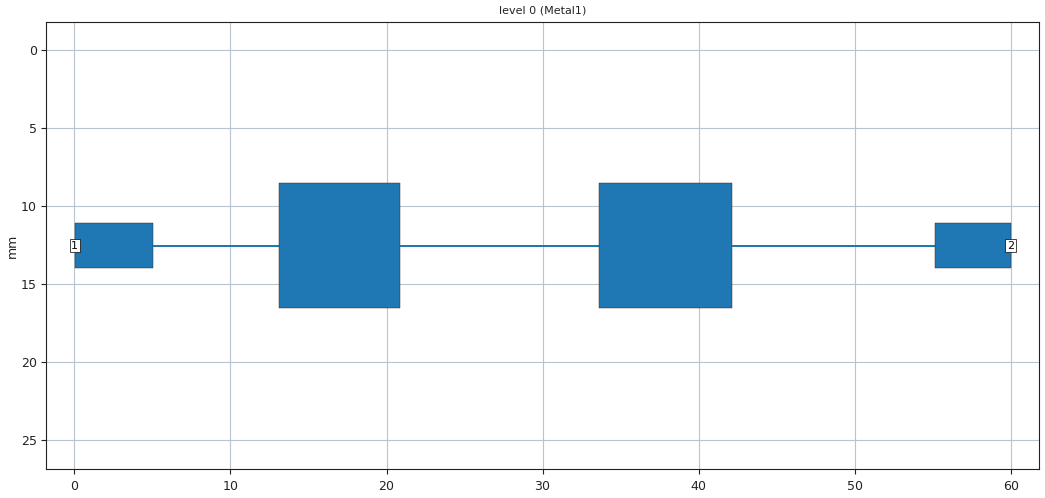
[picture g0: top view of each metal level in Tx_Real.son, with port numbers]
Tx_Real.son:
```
FTYP SONPROJ 19 ! Sonnet Project File
VER 18.53
HEADER
LIC SL65aa19ee
DAT 03/29/2024 23:00:38
BUILT_BY_CREATED xgeom 18.53-Lite 03/29/2024 21:53:32
BUILT_BY_SAVED sonnet 18.53-Lite
MDATE 03/29/2024 22:40:35
HDATE 03/29/2024 22:40:35
END HEADER
DIM
ANG DEG
CAP PF
CON /OH
FREQ GHZ
IND NH
LNG MM
RES OH
END DIM
CONTROL
VARSWP
OPTIONS  -d
SPEED 0
CACHE_ABS 2
Q_ACC N
END CONTROL
GEO
TMET "Lossless" 0 SUP 0 0 0 0
BMET "Lossless" 0 SUP 0 0 0 0
BOX 1 60 25.09 2000 2000 20 0
      0.762 1 1 0 0 0 0 "Air"
      0.762 4.4 1 0.02 0 0 0 "FR-4"
TECHLAY METAL Metal1 <UNSPECIFIED> -2 -65534 
0 0 -1 N 9 1 1 100 100 0 0 0 Y
END
END
LORGN 0 25.09 U 
POR1 BOX
POLY 59 1
3
1 50 0 0 0 0.02 12.545 
POR1 BOX
POLY 73 1
1
2 50 0 0 0 60 12.545 
NUM 7
0 5 -1 N 59 1 1 100 100 0 0 0 Y
TLAYNAM Metal1 INH
0.02 11.08978
5.04 11.08978
5.04 14.00022
0.02 14.00022
0.02 11.08978
END
0 5 -1 N 68 1 1 100 100 0 0 0 Y
TLAYNAM Metal1 INH
5.04 12.482275
13.14 12.482275
13.14 12.607725
5.04 12.607725
5.04 12.482275
END
0 5 -1 N 69 1 1 100 100 0 0 0 Y
TLAYNAM Metal1 INH
13.14 8.5368725
20.88 8.5368725
20.88 16.5531275
13.14 16.5531275
13.14 8.5368725
END
0 5 -1 N 70 1 1 100 100 0 0 0 Y
TLAYNAM Metal1 INH
20.88 12.482275
33.6 12.482275
33.6 12.607725
20.88 12.607725
20.88 12.482275
END
0 5 -1 N 71 1 1 100 100 0 0 0 Y
TLAYNAM Metal1 INH
33.6 8.5368725
42.12 8.5368725
42.12 16.5531275
33.6 16.5531275
33.6 8.5368725
END
0 5 -1 N 72 1 1 100 100 0 0 0 Y
TLAYNAM Metal1 INH
42.12 12.482275
55.14 12.482275
55.14 12.607725
42.12 12.607725
42.12 12.482275
END
0 5 -1 N 73 1 1 100 100 0 0 0 Y
TLAYNAM Metal1 INH
55.14 11.08978
60 11.08978
60 14.00022
55.14 14.00022
55.14 11.08978
END
END GEO
OPT
MAX 100
END OPT
VARSWP
ENABLED Y
FREQ N AY ABS_ENTRY UNK 
FREQ Y AN SWEEP 0.01 5.0 0.01
END
END VARSWP
```
